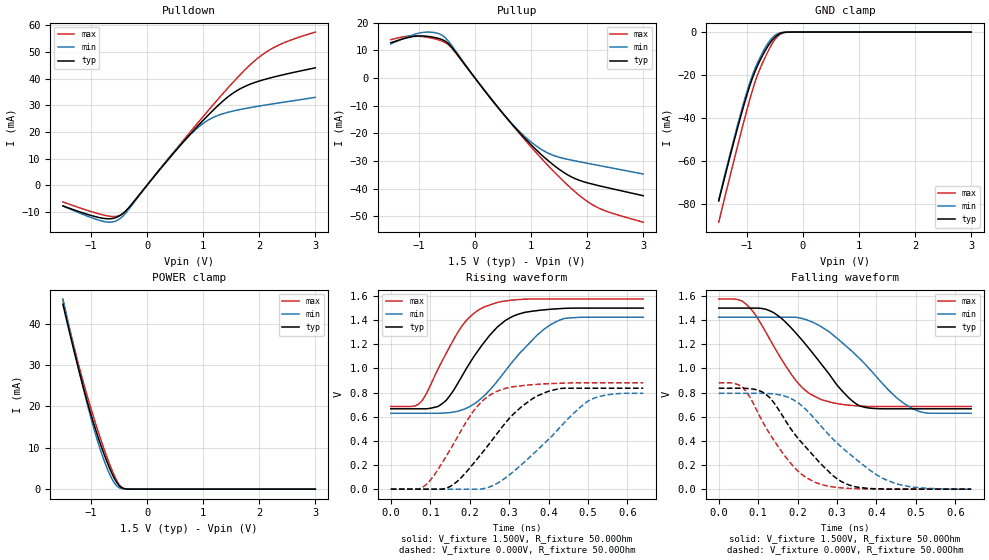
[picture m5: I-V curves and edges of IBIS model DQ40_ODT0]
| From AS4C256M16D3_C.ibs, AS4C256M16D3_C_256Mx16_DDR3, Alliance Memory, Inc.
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|   Model DQ40_ODT0
[Model]   DQ40_ODT0
Model_type   I/O
Enable   Active-High
Vinl = 575.000mV
Vinh = 925.000mV
Vmeas = 750.000mV
Vref = 750.000mV
Cref = 0.0pF
Rref = 25.000Ohm
|   typ   min   max
C_comp   1.28pF   1.22pF   1.43pF
[Model Spec]
| Input threshold voltage corners
Vinl   0.5750V   0.5375V   0.6125V
Vinh   0.9250V   0.8875V   0.9625V
| Measurement voltage corners
Vmeas   0.7500V   0.7125V   0.7875V
| Timing spec test load voltage corners
Vref   0.7500V   0.7125V   0.7875V
|[Receiver Thresholds]
|Vth   =  0.750V
|Vth_min  =  0.735V
|Vth_max  =  0.765V
|Vinh_ac  =  0.175V
|Vinh_dc  =  0.100V
|Vinl_ac  = -0.175V
|Vinl_dc  = -0.100V
|Tslew_ac =  5.000ns
|Threshold_sensitivity = 0.50
|Reference_supply Pullup_ref
[Temperature Range]   85.00   110.00   0.00
[Voltage Range]   1.500V   1.425V   1.575V
[Pullup Reference]   1.500V   1.425V   1.575V
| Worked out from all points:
|   slope of the pulldown table from 0 to 0.225 V, typ, clamps not added: 38.9 ohm
|   slope of the pullup table from 0 to 0.225 V, typ, clamps not added: 38 ohm
|   GND clamp passes 1 mA (typ) near -0.43 V on its own axis
|   POWER clamp passes 1 mA (typ) near -0.51 V on its own axis
|   rising waveform, V_fixture 1.500V, R_fixture 50.00Ohm: 20-80 % time 105ps typ, 127ps min, 90.7ps max; typ from 0.666 V to 1.5 V
|   falling waveform, V_fixture 1.500V, R_fixture 50.00Ohm: 20-80 % time 123ps typ, 147ps min, 104ps max; typ from 1.5 V to 0.666 V
|   rising waveform, V_fixture 0.000V, R_fixture 50.00Ohm: 20-80 % time 129ps typ, 150ps min, 102ps max; typ from 0 V to 0.836 V
|   falling waveform, V_fixture 0.000V, R_fixture 50.00Ohm: 20-80 % time 122ps typ, 154ps min, 104ps max; typ from 0.836 V to 0 V
[Pulldown]
|   Voltage   I(typ)   I(min)   I(max)
-1.5V     -7.756mA   -7.775mA   -6.272mA
-725mV    -12.55mA   -13.77mA   -11.42mA
-575mV    -12.27mA   -13.57mA   -11.75mA
-425mV    -10.52mA   -11.5mA    -10.53mA
-275mV    -7.176mA   -7.628mA   -7.245mA
525mV     13.28mA    13.56mA    13.7mA
825mV     20.41mA    20.1mA     21.37mA
1.075V    25.99mA    24.27mA    27.64mA
1.575V    35.17mA    28.05mA    39.59mA
2.025V    39.28mA    29.82mA    48.54mA
2.425V    41.47mA    31.15mA    53.34mA
3V        44.08mA    33.01mA    57.51mA
[Pullup]
|   Voltage   I(typ)   I(min)   I(max)
-1.5V     12.72mA    12.31mA    13.81mA
-1.175V   14.68mA    15.08mA    15.14mA
-875mV    15.1mA     16.56mA    14.78mA
-625mV    14.14mA    15.86mA    13.6mA
-475mV    12.46mA    13.34mA    12.03mA
475mV     -12.21mA   -12.31mA   -12.2mA
825mV     -20.39mA   -19.96mA   -20.78mA
1.125V    -26.59mA   -25mA      -27.73mA
1.625V    -34.65mA   -29.26mA   -38.18mA
2.075V    -38.24mA   -31.09mA   -45.54mA
2.375V    -39.68mA   -32.25mA   -48.36mA
3V        -42.53mA   -34.7mA    -52.09mA
[GND Clamp]
|   Voltage   I(typ)   I(min)   I(max)
-1.5V     -78.66mA   -78.09mA   -88.51mA
-1.275V   -55.59mA   -54.4mA    -64.57mA
-1.125V   -40.88mA   -39.43mA   -49.01mA
-1V       -29.48mA   -27.97mA   -36.52mA
-900mV    -21.53mA   -20.13mA   -27.22mA
-800mV    -15.18mA   -13.84mA   -19.38mA
-650mV    -7.694mA   -6.337mA   -10.5mA
-525mV    -3.129mA   -2.128mA   -4.446mA
-425mV    -964.7uA   -481.8uA   -1.392mA
-350mV    -231.3uA   -91.54uA   -355.6uA
-250mV    -15.37uA   -6.172uA   -15.13uA
3V        0A         0A         0A
[POWER Clamp]
|   Voltage   I(typ)   I(min)   I(max)
-1.5V     44.74mA    45.98mA    45.76mA
-1.325V   34.74mA    35.34mA    35.77mA
-1.2V     27.95mA    28.02mA    29.09mA
-1.05V    20.4mA     19.77mA    21.78mA
-925mV    14.77mA    13.59mA    16.21mA
-800mV    9.746mA    8.263mA    11.03mA
-700mV    6.157mA    4.678mA    7.21mA
-600mV    3.066mA    1.888mA    3.799mA
-525mV    1.318mA    620uA      1.716mA
-450mV    352.3uA    131.5uA    428.4uA
-325mV    17.08uA    6.366uA    9.491uA
3V        0A         0A         0A
[Ramp]
R_load = 50.00Ohm
|   typ   min   max
dV/dt_r   350.95mV/122.76ps   337.81mV/163.14ps   382.67mV/99.230ps
dV/dt_f   350.95mV/131.46ps   337.81mV/173.09ps   382.67mV/100.65ps
[Rising Waveform]
V_fixture = 1.500V
V_fixture_min = 1.425V
V_fixture_max = 1.575V
R_fixture = 50.00Ohm
|   Time   V(typ)   V(min)   V(max)
0s        665.8mV    628.7mV    685.1mV
70ps      665.8mV    628.7mV    702.9mV
90ps      665.8mV    628.7mV    790.1mV
130ps     708.1mV    630mV      1.061V
190ps     990.5mV    667.6mV    1.392V
240ps     1.23V      783.4mV    1.514V
310ps     1.433V     1.061V     1.567V
370ps     1.479V     1.273V     1.575V
420ps     1.494V     1.389V     1.575V
640ps     1.5V       1.425V     1.575V
[Falling Waveform]
V_fixture = 1.500V
V_fixture_min = 1.425V
V_fixture_max = 1.575V
R_fixture = 50.00Ohm
|   Time   V(typ)   V(min)   V(max)
0s        1.5V       1.425V     1.575V
70ps      1.5V       1.425V     1.531V
140ps     1.461V     1.425V     1.182V
200ps     1.277V     1.422V     882.9mV
260ps     1.037V     1.346V     741.9mV
310ps     824.4mV    1.222V     703.9mV
360ps     686.9mV    1.073V     688.7mV
440ps     665.8mV    791.2mV    685.1mV
490ps     665.8mV    670mV      685.1mV
640ps     665.8mV    628.7mV    685.1mV
[Rising Waveform]
V_fixture = 0.000V
V_fixture_min = 0.000V
V_fixture_max = 0.000V
R_fixture = 50.00Ohm
|   Time   V(typ)   V(min)   V(max)
0s        89.3uV     107.6uV    263.3uV
80ps      89.3uV     107.6uV    14.31mV
150ps     21.23mV    107.6uV    324.3mV
210ps     214.2mV    107.6uV    649.7mV
270ps     463.1mV    48.58mV    812.2mV
310ps     619mV      143.4mV    848.4mV
370ps     770.5mV    319.4mV    868.3mV
430ps     834.2mV    515.9mV    877.8mV
500ps     836.4mV    730.4mV    881mV
640ps     836.4mV    794.2mV    881mV
[Falling Waveform]
V_fixture = 0.000V
V_fixture_min = 0.000V
V_fixture_max = 0.000V
R_fixture = 50.00Ohm
|   Time   V(typ)   V(min)   V(max)
0s        836.4mV    794.2mV    881mV
60ps      836.4mV    794.2mV    846mV
80ps      832.2mV    794.2mV    757.6mV
120ps     784.9mV    794.2mV    507.5mV
190ps     467.2mV    739.5mV    186mV
250ps     241.5mV    557.8mV    49.25mV
320ps     48.21mV    323.9mV    8.982mV
420ps     1.346mV    83.69mV    1.48mV
490ps     89.3uV     17.79mV    263.3uV
640ps     89.3uV     107.6uV    263.3uV
